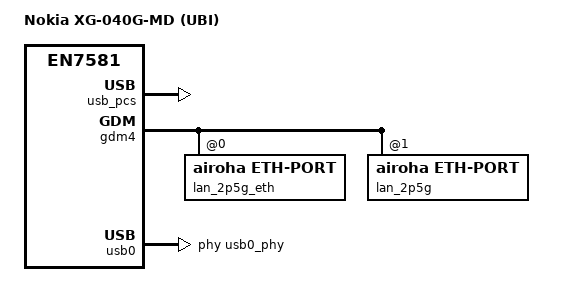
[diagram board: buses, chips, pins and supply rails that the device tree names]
// SPDX-License-Identifier: GPL-2.0-only OR MIT

#include "an7581-nokia_xg-040g-md-common.dtsi"
#include "an758x-nokia_xg-040g-ubi-parts.dtsi"

/ {
	model = "Nokia XG-040G-MD (UBI)";
	compatible = "nokia,xg-040g-md-ubi", "airoha,an7581",
		     "airoha,en7581";
	variant = "usb-sfp";
};

&usb_pcs {
	status = "okay";
};

&gdm4 {
	/delete-property/ pcs-handle;
	#address-cells = <1>;
	#size-cells = <0>;
	status = "okay";

	lan_2p5g_eth: ethernet-port@0 {
		compatible = "airoha,eth-port";
		reg = <0>;
		managed = "in-band-status";
		pcs-handle = <&eth_pcs>;
		phy-handle = <&en8811>;
		phy-mode = "2500base-x";
		nvmem-cell-names = "mac-address";
		nvmem-cells = <&macaddr_factory_3e 2>;
		openwrt,netdev-name = "lan1";
		status = "okay";
	};

	lan_2p5g: ethernet-port@1 {
		compatible = "airoha,eth-port";
		reg = <1>;
		managed = "in-band-status";
		pcs-handle = <&usb_pcs>;
		phy-mode = "2500base-x";
		nvmem-cell-names = "mac-address";
		nvmem-cells = <&macaddr_factory_3e 3>;
		openwrt,netdev-name = "lan5";
		status = "okay";
	};
};

&usb0 {
	status = "okay";

	mediatek,u3p-dis-msk = <0x1>;
    phys = <&usb0_phy PHY_TYPE_USB2>;

	vusb33-supply = <&reg_3p3v>;

	#address-cells = <1>;
	#size-cells = <0>;

	usb_port1: port@1 {
		reg = <1>;
		#trigger-source-cells = <0>;
	};
};
